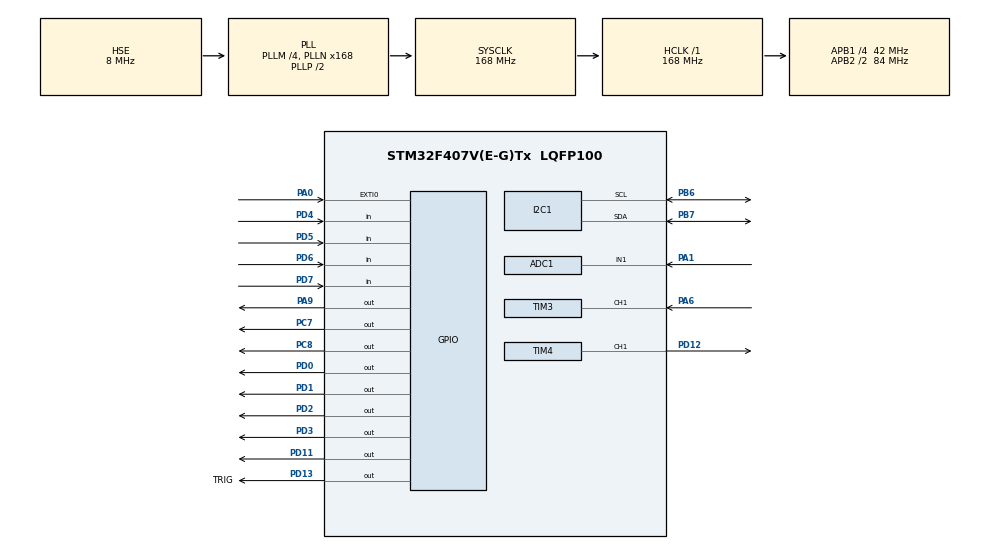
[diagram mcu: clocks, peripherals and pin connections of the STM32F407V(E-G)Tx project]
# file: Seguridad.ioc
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ADC1.Channel-0\#ChannelRegularConversion=ADC_CHANNEL_1
ADC1.ContinuousConvMode=ENABLE
ADC1.DMAContinuousRequests=ENABLE
ADC1.NbrOfConversionFlag=1
ADC1.Rank-0\#ChannelRegularConversion=1
ADC1.Resolution=ADC_RESOLUTION_12B
ADC1.SamplingTime-0\#ChannelRegularConversion=ADC_SAMPLETIME_480CYCLES
ADC1.ScanConvMode=DISABLE
ADC1.master=1
Dma.ADC1.0.Direction=DMA_PERIPH_TO_MEMORY
Dma.ADC1.0.FIFOMode=DMA_FIFOMODE_DISABLE
Dma.ADC1.0.Instance=DMA2_Stream0
Dma.ADC1.0.MemDataAlignment=DMA_MDATAALIGN_WORD
Dma.ADC1.0.MemInc=DMA_MINC_ENABLE
Dma.ADC1.0.Mode=DMA_CIRCULAR
Dma.ADC1.0.PeriphDataAlignment=DMA_PDATAALIGN_WORD
Dma.ADC1.0.PeriphInc=DMA_PINC_DISABLE
Dma.ADC1.0.Priority=DMA_PRIORITY_LOW
Dma.Request0=ADC1
Mcu.Family=STM32F4
Mcu.Name=STM32F407V(E-G)Tx
Mcu.Package=LQFP100
NVIC.ADC_IRQn=true\:0\:0\:false\:false\:true\:true\:true
NVIC.DMA2_Stream0_IRQn=true\:0\:0\:false\:false\:true\:false\:true
NVIC.EXTI0_IRQn=true\:0\:0\:false\:false\:true\:true\:true
NVIC.PriorityGroup=NVIC_PRIORITYGROUP_4
NVIC.TIM3_IRQn=true\:0\:0\:false\:false\:true\:true\:true
PA0-WKUP.Signal=GPXTI0
PA1.Signal=ADCx_IN1
PA6.Signal=S_TIM3_CH1
PA9.Signal=GPIO_Output
PB6.Mode=I2C
PB6.Signal=I2C1_SCL
PB7.Mode=I2C
PB7.Signal=I2C1_SDA
PC7.PinState=GPIO_PIN_RESET
PC7.Signal=GPIO_Output
PC8.Signal=GPIO_Output
PD0.Signal=GPIO_Output
PD1.Signal=GPIO_Output
PD11.Signal=GPIO_Output
PD12.Signal=S_TIM4_CH1
PD13.GPIO_Label=TRIG
PD13.Signal=GPIO_Output
PD2.Signal=GPIO_Output
PD3.Signal=GPIO_Output
PD4.GPIO_PuPd=GPIO_PULLDOWN
PD4.Signal=GPIO_Input
PD5.GPIO_PuPd=GPIO_PULLDOWN
PD5.Signal=GPIO_Input
PD6.GPIO_PuPd=GPIO_PULLDOWN
PD6.Signal=GPIO_Input
PD7.GPIO_PuPd=GPIO_PULLDOWN
PD7.Signal=GPIO_Input
PH0-OSC_IN.Mode=HSE-External-Oscillator
PH0-OSC_IN.Signal=RCC_OSC_IN
PH1-OSC_OUT.Mode=HSE-External-Oscillator
PH1-OSC_OUT.Signal=RCC_OSC_OUT
ProjectManager.HeapSize=0x200
ProjectManager.StackSize=0x400
ProjectManager.TargetToolchain=STM32CubeIDE
RCC.48MHZClocksFreq_Value=84000000
RCC.AHBFreq_Value=168000000
RCC.APB1CLKDivider=RCC_HCLK_DIV4
RCC.APB1Freq_Value=42000000
RCC.APB1TimFreq_Value=84000000
RCC.APB2CLKDivider=RCC_HCLK_DIV2
RCC.APB2Freq_Value=84000000
RCC.APB2TimFreq_Value=168000000
RCC.CortexFreq_Value=168000000
RCC.HCLKFreq_Value=168000000
RCC.HSE_VALUE=8000000
RCC.HSI_VALUE=16000000
RCC.LSE_VALUE=32768
RCC.PLLM=4
RCC.PLLN=168
RCC.PLLSourceVirtual=RCC_PLLSOURCE_HSE
RCC.SYSCLKFreq_VALUE=168000000
RCC.SYSCLKSource=RCC_SYSCLKSOURCE_PLLCLK
RCC.VCOOutputFreq_Value=336000000
SH.ADCx_IN1.0=ADC1_IN1,IN1
SH.S_TIM3_CH1.0=TIM3_CH1,Input_Capture1_from_TI1
SH.S_TIM4_CH1.0=TIM4_CH1,PWM Generation1 CH1
TIM1.Period=0
TIM1.Prescaler=83
TIM3.Channel-Input_Capture1_from_TI1=TIM_CHANNEL_1
TIM3.ICFilter_CH1=5
TIM3.ICPolarity_CH1=TIM_INPUTCHANNELPOLARITY_BOTHEDGE
TIM3.Prescaler=83
TIM4.Channel-PWM\ Generation1\ CH1=TIM_CHANNEL_1
TIM4.Period=100
TIM4.Prescaler=16-1
TIM4.Pulse-PWM\ Generation1\ CH1=75
VP_TIM1_VS_ClockSourceINT.Mode=Internal
VP_TIM3_VS_ClockSourceINT.Mode=Internal
VP_TIM4_VS_ClockSourceINT.Mode=Internal
board=custom

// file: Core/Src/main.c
/* USER CODE BEGIN Header */
/**
  ******************************************************************************
  * @file           : main.c
  * @brief          : Main program body
  ******************************************************************************
  * @attention
  *
  * <h2><center>&copy; Copyright (c) 2021 STMicroelectronics.
  * All rights reserved.</center></h2>
  *
  * This software component is licensed by ST under BSD 3-Clause license,
  * the "License"; You may not use this file except in compliance with the
  * License. You may obtain a copy of the License at:
  *                        opensource.org/licenses/BSD-3-Clause
  *
  ******************************************************************************
  */
/* USER CODE END Header */
#include "main.h"

/* USER CODE BEGIN Includes */
#include "ssd1306.h"       //LIBRERIA OLED
#include "anim_ojos.h"     //LIBRERIA CON ANIMACION OJOS
#include "MY_Keypad4x4.h"  //LIBRERIA KEYPAD
#include <stdbool.h>
#include <string.h>
/* USER CODE END Includes */

/* USER CODE BEGIN PTD */
#define usTIM TIM1  //TIMER PARA ULTRASONIDOS
/* USER CODE END PTD */

ADC_HandleTypeDef hadc1;
DMA_HandleTypeDef hdma_adc1;

I2C_HandleTypeDef hi2c1;

TIM_HandleTypeDef htim1;
TIM_HandleTypeDef htim3;
TIM_HandleTypeDef htim4;

void SystemClock_Config(void);
static void MX_GPIO_Init(void);
static void MX_DMA_Init(void);
static void MX_ADC1_Init(void);
static void MX_I2C1_Init(void);
static void MX_TIM1_Init(void);
static void MX_TIM4_Init(void);
static void MX_TIM3_Init(void);
/* USER CODE BEGIN PFP */
void keypad_init(void);
char keypad_read(void);
// DECLARACION FUNCION QUE IMPRIME ANIMACION OJOS
void animacion_ojos(void);
// DECLARACION FUNCION DELAY PARA SENSOR ULTRASONIDOS
void usDelay (uint16_t uSec);
// DECLARACION FUNCION ULTRASONIDOS
void dist_Ultrasonidos(void);
// DECLARACION FUNCIONES CONTRASEÑA
//unsigned char key_press(void);
//unsigned char check_clm(unsigned char pin_var);
//void Disp_pass_key(unsigned char key_var);

/* USER CODE END PFP */

/* USER CODE BEGIN 0 */
/* PUERTOS
  PA1--SEÑAL IR

  PC8 Y PC7 CONTROL MOTOR
  PD12 PWM MOTOR

  PD13--TRIG
  PA6--ECHO

  PD0-PD3 OUTPUT PAD
  PD4-PD7 INPUT PAD

*/

uint8_t check1;	     // PANTALLAS
uint32_t ADC_value_ir;	     // VALOR IR

uint8_t puerta = 0;			     // 0 CERRADA 1 ABIERTA

//VARIABLES PARA SENSOR ULTRASONIDOS
float distancia;
uint8_t cuenta=0;

uint8_t icFlag = 0;
uint8_t captureIdx=0;
uint32_t edge1Time=0, edge2Time=0;

// VARIABLE CONTRASEÑA
uint8_t contrasena_bit = 0;   // 0 INCORRECTO 1 CORRECTO
uint8_t boton = 0;

bool botones_pad[16];
char *contrasena[5] = {"1","4","6","7","5"};

int i=0;

Keypad_WiresTypeDef keypadStruct;
//VARIABLES A USAR DENTRO DEL PROGRAMA

/* USER CODE END 0 */

int main(void)
{

  /* MCU Configuration--------------------------------------------------------*/

  /* Reset of all peripherals, Initializes the Flash interface and the Systick. */
  HAL_Init();

  /* Configure the system clock */
  SystemClock_Config();

  /* Initialize all configured peripherals */
  MX_GPIO_Init();
  MX_DMA_Init();
  MX_ADC1_Init();
  MX_I2C1_Init();
  MX_TIM1_Init();
  MX_TIM4_Init();
  MX_TIM3_Init();
  /* USER CODE BEGIN 2 */

  // INICIALIZA PANTALLAS
  check1 = ssd1306_Init(&hi2c1);	// INICIALIZA PANTALLA DE INFORMACION
  ssd1306_Fill(0);          		// 0 NEGRO
  ssd1306_UpdateScreen(&hi2c1);     // IMPRIME LOS CAMBIOS
  HAL_Delay(100);

  // LECTURA DATOS IR
  HAL_ADC_Start_DMA(&hadc1, &ADC_value_ir, 1);

  // SALIDAS DIRECCION MOTOR
  HAL_GPIO_WritePin(GPIOC, GPIO_PIN_7, GPIO_PIN_RESET);
  HAL_GPIO_WritePin(GPIOC, GPIO_PIN_8, GPIO_PIN_RESET);

  HAL_TIM_Base_Start(&htim4);
  HAL_TIM_PWM_Start(&htim4,TIM_CHANNEL_1);  // PWM PARA MOTOR TEMPORIZADOR 4 CHANNEL 1*/

  // INICIALIZACION CODIGO
  keypadStruct.IN0_Port = GPIOD;
  keypadStruct.IN1_Port = GPIOD;
  keypadStruct.IN2_Port = GPIOD;
  keypadStruct.IN3_Port = GPIOD;

  keypadStruct.OUT0_Port = GPIOD;
  keypadStruct.OUT1_Port = GPIOD;
  keypadStruct.OUT2_Port = GPIOD;
  keypadStruct.OUT3_Port = GPIOD;

  keypadStruct.IN0pin = GPIO_PIN_7;
  keypadStruct.IN1pin = GPIO_PIN_6;
  keypadStruct.IN2pin = GPIO_PIN_5;
  keypadStruct.IN3pin = GPIO_PIN_4;

  keypadStruct.OUT0pin = GPIO_PIN_3;
  keypadStruct.OUT1pin = GPIO_PIN_2;
  keypadStruct.OUT2pin = GPIO_PIN_1;
  keypadStruct.OUT3pin = GPIO_PIN_0;

  Keypad4x4_Init(&keypadStruct);

  /* USER CODE END 2 */

  /* Infinite loop */
  while (1)
  {

    /* USER CODE BEGIN 3 */

	  if(boton == 0 && puerta == 0)
	  {
		  animacion_ojos();	// LLAMA FUNCION QUE IMPRIME LA ANIMACION PARALIZA EL MICRO DURANTE TODA LA ANIMACION
	  }

      // CONTRASEÑA
	 if (contrasena_bit == 0 && puerta == 0 && boton == 1)
	  {
		  ssd1306_Fill(0);          		// 0 NEGRO
		  ssd1306_SetCursor( 12, 5 );
		  ssd1306_WriteString("INTRODUZCA", Font_11x18, 1);
		  ssd1306_SetCursor( 12, 20 );
		  ssd1306_WriteString("CODIGO", Font_11x18, 1);
		  ssd1306_UpdateScreen(&hi2c1);

		  do{
			  Keypad4x4_ReadKeypad(botones_pad);
			  for(uint8_t j=0; j<16; j++)
			  {
		  		  	if(botones_pad[j])
		  		  	{
		  		  		if(strcmp(contrasena[i],Keypad4x4_GetChar(j))/*contrasena[i] != Keypad4x4_GetChar(j)*/)
		  		  		{
		  		  			//print error
		  		  			ssd1306_Fill(0);          		// 0 NEGRO
		  		  			ssd1306_SetCursor( 18, 5 );
		  		  			ssd1306_WriteString("CODIGO", Font_11x18, 1);
		  		  			ssd1306_SetCursor( 10, 20 );
		  		  			ssd1306_WriteString("INCORRECTO", Font_11x18, 1);
		  		  			ssd1306_SetCursor( 18, 40 );
		  		  			ssd1306_WriteString(Keypad4x4_GetChar(j), Font_11x18, 1);
		  		  			ssd1306_UpdateScreen(&hi2c1);

		  		  			HAL_Delay(1000);
		  		  			ssd1306_Fill(0);          		// 0 NEGRO
		  		  			ssd1306_SetCursor( 12, 5 );
		  		  			ssd1306_WriteString("INTRODUZCA", Font_11x18, 1);
		  		  			ssd1306_SetCursor( 12, 20 );
		  		  			ssd1306_WriteString("CODIGO", Font_11x18, 1);
		  		  			ssd1306_UpdateScreen(&hi2c1);
		  		  			i=0;
		  		  		}

		  		  		else
		  		  		{
		  		  			//continua CODIGO BIEN DE MOMENTO
		  		  			ssd1306_SetCursor( 18+10*i, 40 );
		  		  			ssd1306_WriteString(Keypad4x4_GetChar(j), Font_11x18, 1);
		  		  			ssd1306_UpdateScreen(&hi2c1);
		  		  			i++;
		  		  		}
		  		  		//HAL_Delay(100);
		  		  	}
			   }
			   HAL_Delay(100);
		  	}while(i<4);
		    contrasena_bit = 1;
	  }

	  if (contrasena_bit == 1 && puerta == 0)
	  {
		  ssd1306_Fill(0);          		// 0 NEGRO
		  ssd1306_SetCursor( 18, 10 );
		  ssd1306_WriteString("CODIGO", Font_11x18, 1);
		  ssd1306_SetCursor( 18, 30 );
		  ssd1306_WriteString("CORRECT0", Font_11x18, 1);
		  ssd1306_UpdateScreen(&hi2c1);
		  HAL_Delay(1000);

		  HAL_GPIO_WritePin(GPIOC, GPIO_PIN_7, GPIO_PIN_SET); // ARRANCA MOTOR *MIRAR DIRECCION
		  HAL_Delay(800); // AJUSTAR PARA QUE SALGA DEL AGUJERO
		  ssd1306_Fill(0);          		// 0 NEGRO
		  ssd1306_SetCursor( 18, 10 );
		  ssd1306_WriteString("ABRIENDO", Font_11x18, 1);
		  ssd1306_SetCursor( 18, 30 );
		  ssd1306_WriteString("PUERTA", Font_11x18, 1);
		  ssd1306_UpdateScreen(&hi2c1);

		  do
		  {
			  dist_Ultrasonidos();
		  }while((distancia <= 4.05f));

		  HAL_GPIO_WritePin(GPIOC, GPIO_PIN_7, GPIO_PIN_RESET); // PARA MOTOR

		  ssd1306_Fill(0);          		// 0 NEGRO
		  ssd1306_SetCursor( 18, 10 );
		  ssd1306_WriteString("PUERTA", Font_11x18, 1);
		  ssd1306_SetCursor( 18, 30 );
		  ssd1306_WriteString("ABIERTA", Font_11x18, 1);
		  ssd1306_UpdateScreen(&hi2c1);

		  puerta = 1;
		  HAL_Delay(5000);

	  }
	  if(puerta == 1)
	  {
		  while(ADC_value_ir >= 2500)
		  {
			  ssd1306_Fill(0);          		// 0 NEGRO
			  ssd1306_SetCursor( 18, 10 );
			  ssd1306_WriteString("OBJETO", Font_11x18, 1);
			  ssd1306_SetCursor( 18, 30 );
			  ssd1306_WriteString("DETECTADO", Font_11x18, 1);
			  ssd1306_UpdateScreen(&hi2c1);
		  }
	  }

	  if((ADC_value_ir <= 2500) && (ADC_value_ir >= 1000) && (puerta == 1)) // MIRAR DISTANCIA PARA AJUSTAR
	  {
			HAL_GPIO_WritePin(GPIOC, GPIO_PIN_8, GPIO_PIN_SET); // ARRANCA MOTOR *MIRAR DIRECCION
			HAL_Delay(800); // AJUSTAR PARA QUE SALGA DEL AGUJERO
			ssd1306_Fill(0);          		// 0 NEGRO
			ssd1306_SetCursor( 18, 10 );
			ssd1306_WriteString("CERRANDO", Font_11x18, 1);
			ssd1306_SetCursor( 18, 30 );
			ssd1306_WriteString("PUERTA", Font_11x18, 1);
			ssd1306_UpdateScreen(&hi2c1);

			do
			{
				dist_Ultrasonidos();
			}while(distancia <= 4.05f);

			HAL_GPIO_WritePin(GPIOC, GPIO_PIN_8, GPIO_PIN_RESET); // PARA MOTOR

			ssd1306_Fill(0);          		// 0 NEGRO
			ssd1306_SetCursor( 18, 10 );
			ssd1306_WriteString("PUERTA", Font_11x18, 1);
			ssd1306_SetCursor( 18, 30 );
			ssd1306_WriteString("CERRADA", Font_11x18, 1);
			ssd1306_UpdateScreen(&hi2c1);

			boton=0;
			puerta = 0;
			contrasena_bit = 0;
			i=0;

			HAL_Delay(2000);

	  }

	  //__HAL_TIM_SET_COMPARE(&htim4,TIM_CHANNEL_1,75); // CONTROL VELOCIDAD MOTOR, YA ESTA POR DEFECTO A 75%

  }
  /* USER CODE END 3 */
}

void SystemClock_Config(void)
{
  RCC_OscInitTypeDef RCC_OscInitStruct = {0};
  RCC_ClkInitTypeDef RCC_ClkInitStruct = {0};

  /** Configure the main internal regulator output voltage
  */
  __HAL_RCC_PWR_CLK_ENABLE();
  __HAL_PWR_VOLTAGESCALING_CONFIG(PWR_REGULATOR_VOLTAGE_SCALE1);
  /** Initializes the RCC Oscillators according to the specified parameters
  * in the RCC_OscInitTypeDef structure.
  */
  RCC_OscInitStruct.OscillatorType = RCC_OSCILLATORTYPE_HSE;
  RCC_OscInitStruct.HSEState = RCC_HSE_ON;
  RCC_OscInitStruct.PLL.PLLState = RCC_PLL_ON;
  RCC_OscInitStruct.PLL.PLLSource = RCC_PLLSOURCE_HSE;
  RCC_OscInitStruct.PLL.PLLM = 4;
  RCC_OscInitStruct.PLL.PLLN = 168;
  RCC_OscInitStruct.PLL.PLLP = RCC_PLLP_DIV2;
  RCC_OscInitStruct.PLL.PLLQ = 4;
  if (HAL_RCC_OscConfig(&RCC_OscInitStruct) != HAL_OK)
  {
    Error_Handler();
  }
  /** Initializes the CPU, AHB and APB buses clocks
  */
  RCC_ClkInitStruct.ClockType = RCC_CLOCKTYPE_HCLK|RCC_CLOCKTYPE_SYSCLK
                              |RCC_CLOCKTYPE_PCLK1|RCC_CLOCKTYPE_PCLK2;
  RCC_ClkInitStruct.SYSCLKSource = RCC_SYSCLKSOURCE_PLLCLK;
  RCC_ClkInitStruct.AHBCLKDivider = RCC_SYSCLK_DIV1;
  RCC_ClkInitStruct.APB1CLKDivider = RCC_HCLK_DIV4;
  RCC_ClkInitStruct.APB2CLKDivider = RCC_HCLK_DIV2;

  if (HAL_RCC_ClockConfig(&RCC_ClkInitStruct, FLASH_LATENCY_5) != HAL_OK)
  {
    Error_Handler();
  }
}

static void MX_ADC1_Init(void)
{

  ADC_ChannelConfTypeDef sConfig = {0};

  /** Configure the global features of the ADC (Clock, Resolution, Data Alignment and number of conversion)
  */
  hadc1.Instance = ADC1;
  hadc1.Init.ClockPrescaler = ADC_CLOCK_SYNC_PCLK_DIV4;
  hadc1.Init.Resolution = ADC_RESOLUTION_12B;
  hadc1.Init.ScanConvMode = DISABLE;
  hadc1.Init.ContinuousConvMode = ENABLE;
  hadc1.Init.DiscontinuousConvMode = DISABLE;
  hadc1.Init.ExternalTrigConvEdge = ADC_EXTERNALTRIGCONVEDGE_NONE;
  hadc1.Init.ExternalTrigConv = ADC_SOFTWARE_START;
  hadc1.Init.DataAlign = ADC_DATAALIGN_RIGHT;
  hadc1.Init.NbrOfConversion = 1;
  hadc1.Init.DMAContinuousRequests = ENABLE;
  hadc1.Init.EOCSelection = ADC_EOC_SINGLE_CONV;
  if (HAL_ADC_Init(&hadc1) != HAL_OK)
  {
    Error_Handler();
  }
  /** Configure for the selected ADC regular channel its corresponding rank in the sequencer and its sample time.
  */
  sConfig.Channel = ADC_CHANNEL_1;
  sConfig.Rank = 1;
  sConfig.SamplingTime = ADC_SAMPLETIME_480CYCLES;
  if (HAL_ADC_ConfigChannel(&hadc1, &sConfig) != HAL_OK)
  {
    Error_Handler();
  }

}

static void MX_I2C1_Init(void)
{

  hi2c1.Instance = I2C1;
  hi2c1.Init.ClockSpeed = 100000;
  hi2c1.Init.DutyCycle = I2C_DUTYCYCLE_2;
  hi2c1.Init.OwnAddress1 = 0;
  hi2c1.Init.AddressingMode = I2C_ADDRESSINGMODE_7BIT;
  hi2c1.Init.DualAddressMode = I2C_DUALADDRESS_DISABLE;
  hi2c1.Init.OwnAddress2 = 0;
  hi2c1.Init.GeneralCallMode = I2C_GENERALCALL_DISABLE;
  hi2c1.Init.NoStretchMode = I2C_NOSTRETCH_DISABLE;
  if (HAL_I2C_Init(&hi2c1) != HAL_OK)
  {
    Error_Handler();
  }

}

static void MX_TIM1_Init(void)
{

  TIM_ClockConfigTypeDef sClockSourceConfig = {0};
  TIM_MasterConfigTypeDef sMasterConfig = {0};

  htim1.Instance = TIM1;
  htim1.Init.Prescaler = 83;
  htim1.Init.CounterMode = TIM_COUNTERMODE_UP;
  htim1.Init.Period = 0;
  htim1.Init.ClockDivision = TIM_CLOCKDIVISION_DIV1;
  htim1.Init.RepetitionCounter = 0;
  htim1.Init.AutoReloadPreload = TIM_AUTORELOAD_PRELOAD_DISABLE;
  if (HAL_TIM_Base_Init(&htim1) != HAL_OK)
  {
    Error_Handler();
  }
  sClockSourceConfig.ClockSource = TIM_CLOCKSOURCE_INTERNAL;
  if (HAL_TIM_ConfigClockSource(&htim1, &sClockSourceConfig) != HAL_OK)
  {
    Error_Handler();
  }
  sMasterConfig.MasterOutputTrigger = TIM_TRGO_RESET;
  sMasterConfig.MasterSlaveMode = TIM_MASTERSLAVEMODE_DISABLE;
  if (HAL_TIMEx_MasterConfigSynchronization(&htim1, &sMasterConfig) != HAL_OK)
  {
    Error_Handler();
  }

}

static void MX_TIM3_Init(void)
{

  TIM_ClockConfigTypeDef sClockSourceConfig = {0};
  TIM_MasterConfigTypeDef sMasterConfig = {0};
  TIM_IC_InitTypeDef sConfigIC = {0};

  htim3.Instance = TIM3;
  htim3.Init.Prescaler = 83;
  htim3.Init.CounterMode = TIM_COUNTERMODE_UP;
  htim3.Init.Period = 65535;
  htim3.Init.ClockDivision = TIM_CLOCKDIVISION_DIV1;
  htim3.Init.AutoReloadPreload = TIM_AUTORELOAD_PRELOAD_DISABLE;
  if (HAL_TIM_Base_Init(&htim3) != HAL_OK)
  {
    Error_Handler();
  }
  sClockSourceConfig.ClockSource = TIM_CLOCKSOURCE_INTERNAL;
  if (HAL_TIM_ConfigClockSource(&htim3, &sClockSourceConfig) != HAL_OK)
  {
    Error_Handler();
  }
  if (HAL_TIM_IC_Init(&htim3) != HAL_OK)
  {
    Error_Handler();
  }
  sMasterConfig.MasterOutputTrigger = TIM_TRGO_RESET;
  sMasterConfig.MasterSlaveMode = TIM_MASTERSLAVEMODE_DISABLE;
  if (HAL_TIMEx_MasterConfigSynchronization(&htim3, &sMasterConfig) != HAL_OK)
  {
    Error_Handler();
  }
  sConfigIC.ICPolarity = TIM_INPUTCHANNELPOLARITY_BOTHEDGE;
  sConfigIC.ICSelection = TIM_ICSELECTION_DIRECTTI;
  sConfigIC.ICPrescaler = TIM_ICPSC_DIV1;
  sConfigIC.ICFilter = 5;
  if (HAL_TIM_IC_ConfigChannel(&htim3, &sConfigIC, TIM_CHANNEL_1) != HAL_OK)
  {
    Error_Handler();
  }

}

static void MX_TIM4_Init(void)
{

  TIM_ClockConfigTypeDef sClockSourceConfig = {0};
  TIM_MasterConfigTypeDef sMasterConfig = {0};
  TIM_OC_InitTypeDef sConfigOC = {0};

  htim4.Instance = TIM4;
  htim4.Init.Prescaler = 16-1;
  htim4.Init.CounterMode = TIM_COUNTERMODE_UP;
  htim4.Init.Period = 100;
  htim4.Init.ClockDivision = TIM_CLOCKDIVISION_DIV1;
  htim4.Init.AutoReloadPreload = TIM_AUTORELOAD_PRELOAD_DISABLE;
  if (HAL_TIM_Base_Init(&htim4) != HAL_OK)
  {
    Error_Handler();
  }
  sClockSourceConfig.ClockSource = TIM_CLOCKSOURCE_INTERNAL;
  if (HAL_TIM_ConfigClockSource(&htim4, &sClockSourceConfig) != HAL_OK)
  {
    Error_Handler();
  }
  if (HAL_TIM_PWM_Init(&htim4) != HAL_OK)
  {
    Error_Handler();
  }
  sMasterConfig.MasterOutputTrigger = TIM_TRGO_RESET;
  sMasterConfig.MasterSlaveMode = TIM_MASTERSLAVEMODE_DISABLE;
  if (HAL_TIMEx_MasterConfigSynchronization(&htim4, &sMasterConfig) != HAL_OK)
  {
    Error_Handler();
  }
  sConfigOC.OCMode = TIM_OCMODE_PWM1;
  sConfigOC.Pulse = 75;
  sConfigOC.OCPolarity = TIM_OCPOLARITY_HIGH;
  sConfigOC.OCFastMode = TIM_OCFAST_DISABLE;
  if (HAL_TIM_PWM_ConfigChannel(&htim4, &sConfigOC, TIM_CHANNEL_1) != HAL_OK)
  {
    Error_Handler();
  }
  HAL_TIM_MspPostInit(&htim4);

}

static void MX_DMA_Init(void)
{

  /* DMA controller clock enable */
  __HAL_RCC_DMA2_CLK_ENABLE();

  /* DMA interrupt init */
  /* DMA2_Stream0_IRQn interrupt configuration */
  HAL_NVIC_SetPriority(DMA2_Stream0_IRQn, 0, 0);
  HAL_NVIC_EnableIRQ(DMA2_Stream0_IRQn);

}

static void MX_GPIO_Init(void)
{
  GPIO_InitTypeDef GPIO_InitStruct = {0};

  /* GPIO Ports Clock Enable */
  __HAL_RCC_GPIOH_CLK_ENABLE();
  __HAL_RCC_GPIOA_CLK_ENABLE();
  __HAL_RCC_GPIOD_CLK_ENABLE();
  __HAL_RCC_GPIOC_CLK_ENABLE();
  __HAL_RCC_GPIOB_CLK_ENABLE();

  /*Configure GPIO pin Output Level */
  HAL_GPIO_WritePin(GPIOD, GPIO_PIN_11|TRIG_Pin|GPIO_PIN_0|GPIO_PIN_1
                          |GPIO_PIN_2|GPIO_PIN_3, GPIO_PIN_RESET);

  /*Configure GPIO pin Output Level */
  HAL_GPIO_WritePin(GPIOC, GPIO_PIN_7|GPIO_PIN_8, GPIO_PIN_RESET);

  /*Configure GPIO pin Output Level */
  HAL_GPIO_WritePin(GPIOA, GPIO_PIN_9, GPIO_PIN_RESET);

  /*Configure GPIO pin : PA0 */
  GPIO_InitStruct.Pin = GPIO_PIN_0;
  GPIO_InitStruct.Mode = GPIO_MODE_IT_RISING;
  GPIO_InitStruct.Pull = GPIO_NOPULL;
  HAL_GPIO_Init(GPIOA, &GPIO_InitStruct);

  /*Configure GPIO pins : PD11 TRIG_Pin PD0 PD1
                           PD2 PD3 */
  GPIO_InitStruct.Pin = GPIO_PIN_11|TRIG_Pin|GPIO_PIN_0|GPIO_PIN_1
                          |GPIO_PIN_2|GPIO_PIN_3;
  GPIO_InitStruct.Mode = GPIO_MODE_OUTPUT_PP;
  GPIO_InitStruct.Pull = GPIO_NOPULL;
  GPIO_InitStruct.Speed = GPIO_SPEED_FREQ_LOW;
  HAL_GPIO_Init(GPIOD, &GPIO_InitStruct);

  /*Configure GPIO pins : PC7 PC8 */
  GPIO_InitStruct.Pin = GPIO_PIN_7|GPIO_PIN_8;
  GPIO_InitStruct.Mode = GPIO_MODE_OUTPUT_PP;
  GPIO_InitStruct.Pull = GPIO_NOPULL;
  GPIO_InitStruct.Speed = GPIO_SPEED_FREQ_LOW;
  HAL_GPIO_Init(GPIOC, &GPIO_InitStruct);

  /*Configure GPIO pin : PA9 */
  GPIO_InitStruct.Pin = GPIO_PIN_9;
  GPIO_InitStruct.Mode = GPIO_MODE_OUTPUT_PP;
  GPIO_InitStruct.Pull = GPIO_NOPULL;
  GPIO_InitStruct.Speed = GPIO_SPEED_FREQ_LOW;
  HAL_GPIO_Init(GPIOA, &GPIO_InitStruct);

  /*Configure GPIO pins : PD4 PD5 PD6 PD7 */
  GPIO_InitStruct.Pin = GPIO_PIN_4|GPIO_PIN_5|GPIO_PIN_6|GPIO_PIN_7;
  GPIO_InitStruct.Mode = GPIO_MODE_INPUT;
  GPIO_InitStruct.Pull = GPIO_PULLDOWN;
  HAL_GPIO_Init(GPIOD, &GPIO_InitStruct);

  /* EXTI interrupt init*/
  HAL_NVIC_SetPriority(EXTI0_IRQn, 0, 0);
  HAL_NVIC_EnableIRQ(EXTI0_IRQn);

}

/* USER CODE BEGIN 4 */

void HAL_GPIO_EXTI_Callback(uint16_t GPIO_Pin)// TESTEO CON BOTON PLACA
{
  /* Prevent unused argument(s) compilation warning */
  UNUSED(GPIO_Pin);
  /* NOTE: This function Should not be modified, when the callback is needed,
           the HAL_GPIO_EXTI_Callback could be implemented in the user file
   */

  boton=1;
}

void usDelay (uint16_t uSec)
{
	if(uSec < 2) uSec = 2;
	usTIM -> ARR = uSec -1;
	usTIM -> EGR = 1;
	usTIM -> SR &= 1;
	usTIM -> CR1 |= 1;
	while((TIM1 -> SR & 0x0001) != 1);
	usTIM -> SR &= ~(0x0001);
}

void HAL_TIM_IC_CaptureCallback(TIM_HandleTypeDef *htim)
{

	//HAL_GPIO_TogglePin(LED_GPIO_Port, LED_Pin);

		if(captureIdx == 0) //Fisrt edge
		{
			edge1Time = HAL_TIM_ReadCapturedValue(htim, TIM_CHANNEL_1); //__HAL_TIM_GetCounter(&htim3);//

			captureIdx = 1;
		}
		else if(captureIdx == 1) //Second edge
		{
			edge2Time = HAL_TIM_ReadCapturedValue(htim, TIM_CHANNEL_1);
			captureIdx = 0;
			icFlag = 1;
		}
}

void dist_Ultrasonidos(void)
{
	HAL_GPIO_WritePin(TRIG_GPIO_Port, TRIG_Pin, GPIO_PIN_RESET);
	usDelay(3);

	HAL_GPIO_WritePin(TRIG_GPIO_Port, TRIG_Pin, GPIO_PIN_SET);
	usDelay(10);
	HAL_GPIO_WritePin(TRIG_GPIO_Port, TRIG_Pin, GPIO_PIN_RESET);

	 HAL_TIM_IC_Start_IT(&htim3, TIM_CHANNEL_1);
	//Wait for IC flag
	uint32_t startTick = HAL_GetTick();
	do
	{
	 	if(icFlag) break;
	}while((HAL_GetTick() - startTick) < 500);  //500ms
	icFlag = 0;
	HAL_TIM_IC_Stop_IT(&htim3, TIM_CHANNEL_1);

	//DISTANCIA EN CM
	if(edge2Time > edge1Time)
	{
	  	distancia = ((edge2Time - edge1Time) + 0.0f)*0.0343/2;
	}
	else
	{
		distancia = 0.0f;
	}
}

void animacion_ojos(void)
{
	uint32_t parp = 20;
	uint32_t stop = 1000;
	ssd1306_Fill(0);
    ssd1306_DrawBitmap(0,0,ojos_1,128,64,1);
	ssd1306_UpdateScreen(&hi2c1);
	HAL_Delay(stop);

	ssd1306_Fill(0);
    ssd1306_DrawBitmap(0,0,ojos_2,128,64,1);
	ssd1306_UpdateScreen(&hi2c1);
	HAL_Delay(parp);

	ssd1306_Fill(0);
    ssd1306_DrawBitmap(0,0,ojos_3,128,64,1);
	ssd1306_UpdateScreen(&hi2c1);
	HAL_Delay(parp);

	ssd1306_Fill(0);
    ssd1306_DrawBitmap(0,0,ojos_4,128,64,1);
	ssd1306_UpdateScreen(&hi2c1);
	HAL_Delay(parp);

	ssd1306_Fill(0);
    ssd1306_DrawBitmap(0,0,ojos_5,128,64,1);
	ssd1306_UpdateScreen(&hi2c1);
	HAL_Delay(stop);

	ssd1306_Fill(0);
    ssd1306_DrawBitmap(0,0,ojos_6,128,64,1);
	ssd1306_UpdateScreen(&hi2c1);
	HAL_Delay(parp);

	ssd1306_Fill(0);
    ssd1306_DrawBitmap(0,0,ojos_7,128,64,1);
	ssd1306_UpdateScreen(&hi2c1);
	HAL_Delay(parp);

	ssd1306_Fill(0);
    ssd1306_DrawBitmap(0,0,ojos_8,128,64,1);
	ssd1306_UpdateScreen(&hi2c1);
	HAL_Delay(parp);

	ssd1306_Fill(0);
    ssd1306_DrawBitmap(0,0,ojos_9,128,64,1);
    ssd1306_UpdateScreen(&hi2c1);
	HAL_Delay(stop);

	ssd1306_Fill(0);
	ssd1306_DrawBitmap(0,0,ojos_10,128,64,1);
	ssd1306_UpdateScreen(&hi2c1);
	HAL_Delay(parp);

	ssd1306_Fill(0);
    ssd1306_DrawBitmap(0,0,ojos_11,128,64,1);
	ssd1306_UpdateScreen(&hi2c1);
	HAL_Delay(parp);

	ssd1306_Fill(0);
    ssd1306_DrawBitmap(0,0,ojos_12,128,64,1);
	ssd1306_UpdateScreen(&hi2c1);
	HAL_Delay(parp);

}

/* USER CODE END 4 */

void Error_Handler(void)
{
}

/************************ (C) COPYRIGHT STMicroelectronics *****END OF FILE****/
